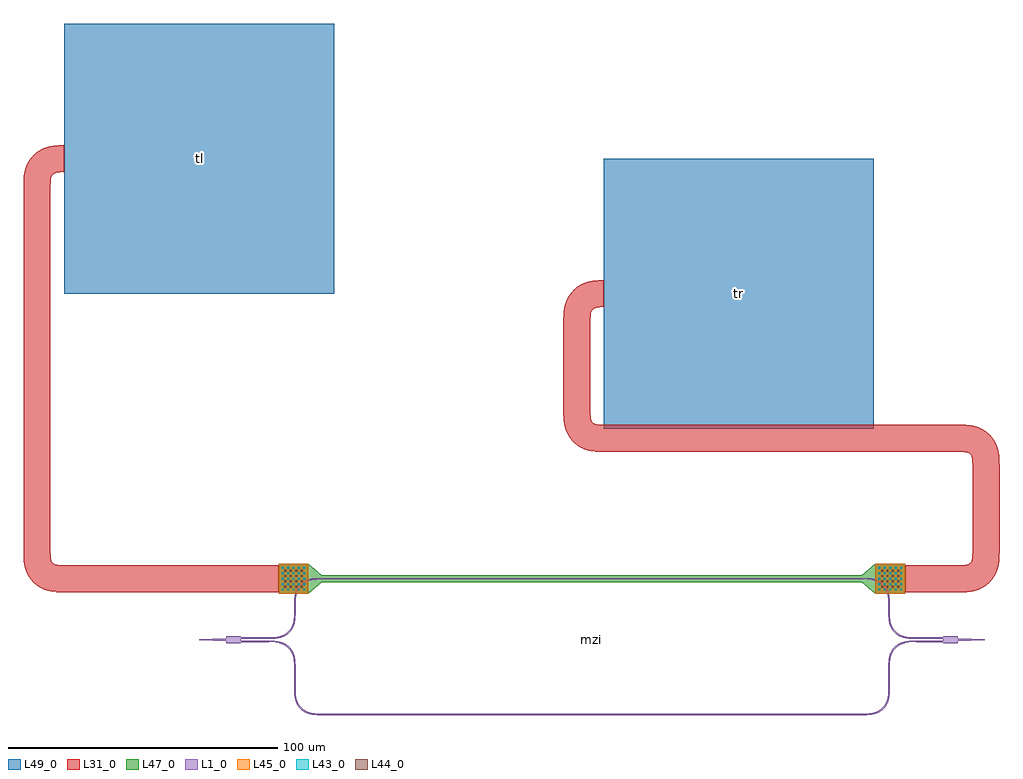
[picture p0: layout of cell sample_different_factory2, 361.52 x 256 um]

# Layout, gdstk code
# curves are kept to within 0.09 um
from math import pi, radians
import gdstk
lib = gdstk.Library(unit=1e-6, precision=1e-09)
def R(c, l, rs):  # rectangles x0, y0, x1, y1
    for r in rs: c.add(gdstk.rectangle(r[:2], r[2:], *l))
def P(c, l, *ps):  # polygons
    for p in ps: c.add(gdstk.Polygon(p, *l))
L1_0 = (1, 0)
L31_0 = (31, 0)
L43_0 = (43, 0)
L44_0 = (44, 0)
L45_0 = (45, 0)
L47_0 = (47, 0)
L49_0 = (49, 0)

compass_f8d1f57e = lib.new_cell('compass_f8d1f57e')
R(compass_f8d1f57e, L49_0, [(-50,-50,50,50)])

pad = lib.new_cell('pad')
pad.add(gdstk.Reference(compass_f8d1f57e, (0,0)))

mmi1x2 = lib.new_cell('mmi1x2')
R(mmi1x2, L1_0, [(0,-1.25,5.5,1.25)])
P(mmi1x2, L1_0, [(-10,0.25),(0,0.5),(0,-0.5),(-10,-0.25)],
  [(15.5,0.375),(5.5,0.125),(5.5,1.125),(15.5,0.875)],
  [(15.5,-0.875),(5.5,-1.125),(5.5,-0.125),(15.5,-0.375)])

bend_euler_9e0718a0 = lib.new_cell('bend_euler_9e0718a0')
P(bend_euler_9e0718a0, L1_0, [(0,-0.25),(2.724,-0.165),(3.761,-0.026),(4.739,0.201),(5.691,0.544),(6.428,0.918),(7.158,1.402),(7.859,2.003),(8.479,2.689),(9.033,3.488),(9.456,4.309),(9.799,5.261),(10.026,6.239),(10.165,7.276),(10.25,10),(9.75,10),(9.634,7.004),(9.463,5.971),(9.18,4.971),(8.508,3.59),(7.575,2.425),(6.41,1.492),(5.029,0.82),(4.029,0.537),(2.996,0.366),(0,0.25)])

straight_a4be237b = lib.new_cell('straight_a4be237b')
R(straight_a4be237b, L1_0, [(0,-0.25,7,0.25)])

straight_bac520ba = lib.new_cell('straight_bac520ba')
R(straight_bac520ba, L1_0, [(0,-0.25,200,0.25)])

straight_fba69bc3 = lib.new_cell('straight_fba69bc3')
R(straight_fba69bc3, L1_0, [(0,-0.25,2,0.25)])

straight_3a72786a = lib.new_cell('straight_3a72786a')
R(straight_3a72786a, L1_0, [(0,-0.25,28,0.25)])
R(straight_3a72786a, L47_0, [(0,-1.25,28,1.25)])

straight_9496f45c = lib.new_cell('straight_9496f45c')
R(straight_9496f45c, L1_0, [(0,-0.25,30,0.25)])
R(straight_9496f45c, L47_0, [(0,-1.25,30,1.25)])

straight_3fe7bc16 = lib.new_cell('straight_3fe7bc16')
R(straight_3fe7bc16, L1_0, [(0,-0.25,6,0.25)])
R(straight_3fe7bc16, L47_0, [(0,-1.25,6,1.25)])

component_sequence_76e47 = lib.new_cell('component_sequence_76e4753e')
component_sequence_76e47.add(gdstk.Reference(straight_3a72786a, (0,0)))
component_sequence_76e47.add(gdstk.Reference(straight_9496f45c, (28,0)))
component_sequence_76e47.add(gdstk.Reference(straight_3fe7bc16, (58,0)))
component_sequence_76e47.add(gdstk.Reference(straight_9496f45c, (64,0)))
component_sequence_76e47.add(gdstk.Reference(straight_3fe7bc16, (94,0)))
component_sequence_76e47.add(gdstk.Reference(straight_9496f45c, (100,0)))
component_sequence_76e47.add(gdstk.Reference(straight_3fe7bc16, (130,0)))
component_sequence_76e47.add(gdstk.Reference(straight_9496f45c, (136,0)))
component_sequence_76e47.add(gdstk.Reference(straight_3fe7bc16, (166,0)))
component_sequence_76e47.add(gdstk.Reference(straight_3a72786a, (172,0)))

compass_8277d85c = lib.new_cell('compass_8277d85c')
R(compass_8277d85c, L47_0, [(-5.5,-5.5,5.5,5.5)])

compass_6419de30 = lib.new_cell('compass_6419de30')
R(compass_6419de30, L45_0, [(-5.5,-5.5,5.5,5.5)])

compass_0253aeff = lib.new_cell('compass_0253aeff')
R(compass_0253aeff, L49_0, [(-5.5,-5.5,5.5,5.5)])

via_ebd8e362 = lib.new_cell('via_ebd8e362')
R(via_ebd8e362, L44_0, [(-0.35,-0.35,0.35,0.35)])

via_fd13653e = lib.new_cell('via_fd13653e')
R(via_fd13653e, L43_0, [(-0.35,-0.35,0.35,0.35)])

via_stack_02e7e014 = lib.new_cell('via_stack_02e7e014')
via_stack_02e7e014.add(gdstk.Reference(compass_8277d85c, (0,0)))
via_stack_02e7e014.add(gdstk.Reference(compass_6419de30, (0,0)))
via_stack_02e7e014.add(gdstk.Reference(compass_0253aeff, (0,0)))
r = gdstk.Reference(via_ebd8e362, (-3,-3)); r.repetition = gdstk.Repetition(4, 4, v1=(2,0), v2=(0,2)); via_stack_02e7e014.add(r)
r = gdstk.Reference(via_fd13653e, (-4,-4)); r.repetition = gdstk.Repetition(5, 5, v1=(2,0), v2=(0,2)); via_stack_02e7e014.add(r)

taper_13d39a01 = lib.new_cell('taper_13d39a01')
P(taper_13d39a01, L47_0, [(0,5.5),(5,1.25),(5,-1.25),(0,-5.5)])

straight_heater_metal_u_ = lib.new_cell('straight_heater_metal_u_7be1cc9e')
straight_heater_metal_u_.add(gdstk.Reference(component_sequence_76e47, (0,0)))
straight_heater_metal_u_.add(gdstk.Reference(via_stack_02e7e014, (-10.5,0)))
straight_heater_metal_u_.add(gdstk.Reference(via_stack_02e7e014, (210.5,0)))
straight_heater_metal_u_.add(gdstk.Reference(taper_13d39a01, (-5,0)))
straight_heater_metal_u_.add(gdstk.Reference(taper_13d39a01, (205,0), rotation=pi))

straight_fa3a3f2f = lib.new_cell('straight_fa3a3f2f')
R(straight_fa3a3f2f, L1_0, [(0,-0.25,0.09,0.25)])

straight_c804d8bd = lib.new_cell('straight_c804d8bd')
R(straight_c804d8bd, L1_0, [(0,-0.25,2,0.25)])

straight_4ae164bc = lib.new_cell('straight_4ae164bc')
R(straight_4ae164bc, L1_0, [(0,-0.25,0.01,0.25)])

straight_32d14105 = lib.new_cell('straight_32d14105')
R(straight_32d14105, L1_0, [(0,-0.25,7,0.25)])

mzi_99ca1007 = lib.new_cell('mzi_99ca1007')
mzi_99ca1007.add(gdstk.Reference(mmi1x2, (0,0)))
mzi_99ca1007.add(gdstk.Reference(mmi1x2, (271.1,0), rotation=pi, x_reflection=True))
mzi_99ca1007.add(gdstk.Reference(bend_euler_9e0718a0, (15.5,-0.625), x_reflection=True))
mzi_99ca1007.add(gdstk.Reference(straight_a4be237b, (25.5,-10.625), rotation=3*pi/2))
mzi_99ca1007.add(gdstk.Reference(bend_euler_9e0718a0, (25.5,-17.625), rotation=3*pi/2))
mzi_99ca1007.add(gdstk.Reference(straight_bac520ba, (35.5,-27.625)))
mzi_99ca1007.add(gdstk.Reference(bend_euler_9e0718a0, (15.5,0.625)))
mzi_99ca1007.add(gdstk.Reference(straight_fba69bc3, (25.5,10.625), rotation=pi/2))
mzi_99ca1007.add(gdstk.Reference(bend_euler_9e0718a0, (35.5,22.625), rotation=pi))
mzi_99ca1007.add(gdstk.Reference(straight_heater_metal_u_, (35.5,22.625)))
mzi_99ca1007.add(gdstk.Reference(bend_euler_9e0718a0, (235.59,22.625), x_reflection=True))
mzi_99ca1007.add(gdstk.Reference(bend_euler_9e0718a0, (245.59,10.625), rotation=3*pi/2))
mzi_99ca1007.add(gdstk.Reference(straight_fa3a3f2f, (235.5,22.625)))
mzi_99ca1007.add(gdstk.Reference(straight_c804d8bd, (245.59,12.625), rotation=3*pi/2))
mzi_99ca1007.add(gdstk.Reference(straight_4ae164bc, (255.59,0.625)))
mzi_99ca1007.add(gdstk.Reference(bend_euler_9e0718a0, (235.59,-27.625)))
mzi_99ca1007.add(gdstk.Reference(bend_euler_9e0718a0, (245.59,-10.625), rotation=pi/2, x_reflection=True))
mzi_99ca1007.add(gdstk.Reference(straight_fa3a3f2f, (235.5,-27.625)))
mzi_99ca1007.add(gdstk.Reference(straight_32d14105, (245.59,-17.625), rotation=pi/2))
mzi_99ca1007.add(gdstk.Reference(straight_4ae164bc, (255.59,-0.625)))

bend_euler_0e25748d = lib.new_cell('bend_euler_0e25748d')
P(bend_euler_0e25748d, L31_0, [(0,-5),(3.609,-4.848),(6.425,-4.25),(8.951,-3.109),(11.23,-1.344),(12.983,0.844),(14.178,3.357),(14.84,6.326),(15,10),(5,10),(4.85,7.119),(4.63,6.377),(4.226,5.794),(3.623,5.37),(2.881,5.15),(0,5)])

straight_6ad9ab51 = lib.new_cell('straight_6ad9ab51')
R(straight_6ad9ab51, L31_0, [(0,-5,20,5)])

straight_294e384b = lib.new_cell('straight_294e384b')
R(straight_294e384b, L31_0, [(0,-5,32,5)])

straight_37d37074 = lib.new_cell('straight_37d37074')
R(straight_37d37074, L31_0, [(0,-5,131.51,5)])

straight_85d4dbd8 = lib.new_cell('straight_85d4dbd8')
R(straight_85d4dbd8, L31_0, [(0,-5,33.5,5)])

straight_facf17d8 = lib.new_cell('straight_facf17d8')
R(straight_facf17d8, L31_0, [(0,-5,0.01,5)])

straight_f22935a8 = lib.new_cell('straight_f22935a8')
R(straight_f22935a8, L31_0, [(0,-5,79.52,5)])

straight_629d87e0 = lib.new_cell('straight_629d87e0')
R(straight_629d87e0, L31_0, [(0,-5,135.5,5)])

straight_f8afdf95 = lib.new_cell('straight_f8afdf95')
R(straight_f8afdf95, L31_0, [(0,-5,0.02,5)])

sample_different_factory = lib.new_cell('sample_different_factory2')
sample_different_factory.add(gdstk.Reference(pad, (-10,128.125)))
sample_different_factory.add(gdstk.Reference(pad, (190,78.125)))
sample_different_factory.add(gdstk.Reference(mzi_99ca1007, (0,-50)))
sample_different_factory.add(gdstk.Reference(bend_euler_0e25748d, (271.5,-27.375)))
sample_different_factory.add(gdstk.Reference(bend_euler_0e25748d, (281.5,14.625), rotation=pi/2))
sample_different_factory.add(gdstk.Reference(bend_euler_0e25748d, (139.99,24.625), rotation=pi, x_reflection=True))
sample_different_factory.add(gdstk.Reference(bend_euler_0e25748d, (129.99,68.125), rotation=pi/2, x_reflection=True))
sample_different_factory.add(gdstk.Reference(straight_6ad9ab51, (251.5,-27.375)))
sample_different_factory.add(gdstk.Reference(straight_294e384b, (281.5,-17.375), rotation=pi/2))
sample_different_factory.add(gdstk.Reference(straight_37d37074, (271.5,24.625), rotation=pi))
sample_different_factory.add(gdstk.Reference(straight_85d4dbd8, (129.99,34.625), rotation=pi/2))
sample_different_factory.add(gdstk.Reference(straight_facf17d8, (139.99,78.125)))
sample_different_factory.add(gdstk.Reference(bend_euler_0e25748d, (-60.02,-27.375), rotation=pi, x_reflection=True))
sample_different_factory.add(gdstk.Reference(bend_euler_0e25748d, (-70.02,118.125), rotation=pi/2, x_reflection=True))
sample_different_factory.add(gdstk.Reference(straight_f22935a8, (19.5,-27.375), rotation=pi))
sample_different_factory.add(gdstk.Reference(straight_629d87e0, (-70.02,-17.375), rotation=pi/2))
sample_different_factory.add(gdstk.Reference(straight_f8afdf95, (-60.02,128.125)))
sample_different_factory.add(gdstk.Label('tl', (-10,128.125), layer=206, texttype=0))
sample_different_factory.add(gdstk.Label('tr', (190,78.125), layer=206, texttype=0))
sample_different_factory.add(gdstk.Label('mzi', (135.55,-49.875), layer=206, texttype=0))

lib.write_gds('sample_different_factory2.gds')
